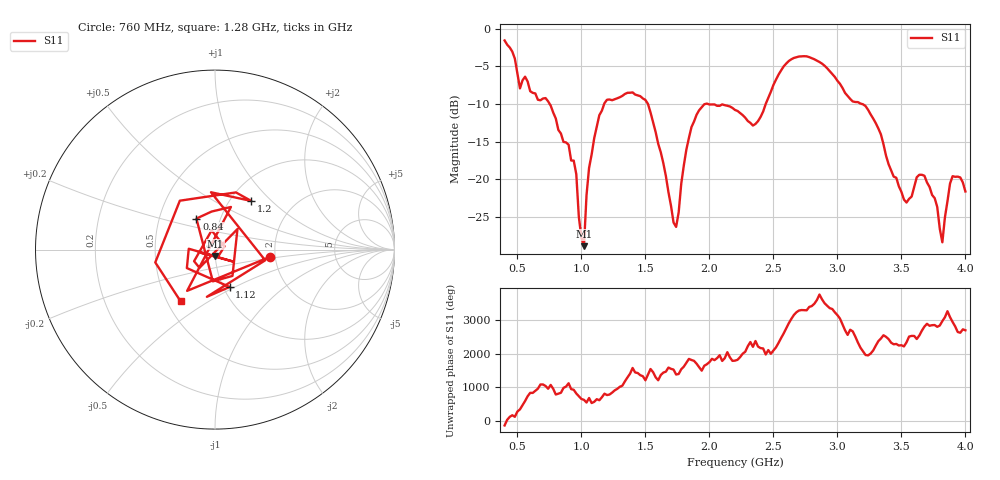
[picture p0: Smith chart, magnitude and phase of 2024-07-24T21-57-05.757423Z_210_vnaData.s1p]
!Created with skrf (http://scikit-rf.org).
# Hz S RI R 50.0
!freq ReS11 ImS11
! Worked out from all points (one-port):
!   181 points, 400 MHz to 4 GHz, reference 50 ohm
!   lowest |S11| = -28.9 dB at 1.02 GHz (marker M1), VSWR 1.07, Z = 50 - j3.6 ohm
!   |S11| at or under -10 dB: 1.52 GHz to 1.965 GHz (444.3 MHz wide, 25.5 % of centre); 1.991 GHz to 2.44 GHz (448.2 MHz wide, 20.2 % of centre); 3.195 GHz to end of sweep (the widest 3 of 4)
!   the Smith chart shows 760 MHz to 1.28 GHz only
!   S11 on the Smith chart (normalised r, x): 760 MHz: 1.87, -0.17; 840 MHz: 0.77, +0.28; 1.12 GHz: 1.07, -0.47; 1.2 GHz: 1.25, +0.76; 1.28 GHz: 0.59, -0.38
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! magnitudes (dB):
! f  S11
! 400 MHz  -1.5
! 520 MHz  -7.9
! 760 MHz  -10.2
! 840 MHz  -13.9
! 860 MHz  -15.0
! 940 MHz  -17.5
! 1.02 GHz  -28.9
! 1.06 GHz  -18.5
! 1.12 GHz  -13.0
! 1.2 GHz  -9.4
! 1.28 GHz  -9.2
! 1.3 GHz  -9.1
! 1.52 GHz  -10.0
! 1.72 GHz  -25.7
! 1.76 GHz  -24.4
! 1.82 GHz  -16.0
! 1.9 GHz  -11.4
! 2.2 GHz  -10.8
! 2.36 GHz  -12.6
! 2.66 GHz  -3.9
! 3.1 GHz  -9.3
! 3.24 GHz  -10.8
! 3.56 GHz  -22.6
! 3.68 GHz  -19.5
! 3.78 GHz  -23.7
! 3.82 GHz  -28.4
! 3.9 GHz  -19.6
! 4 GHz  -21.6
